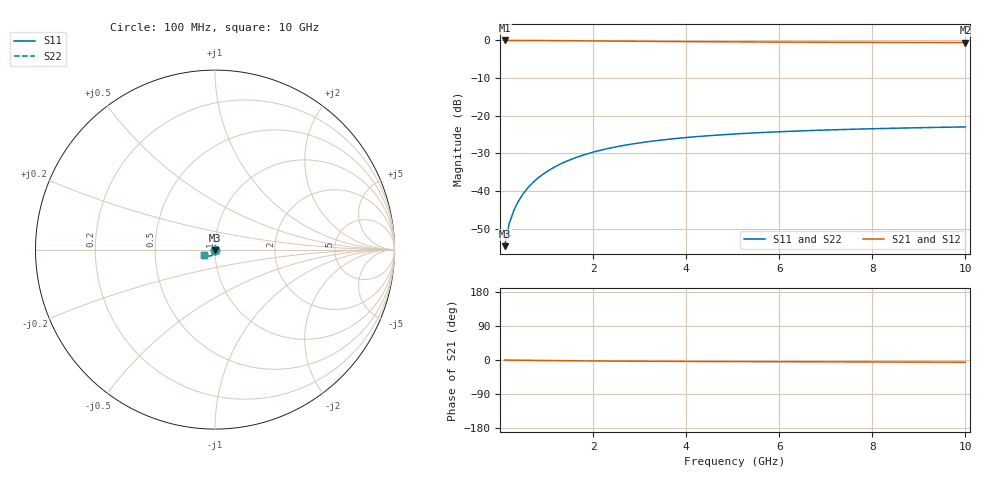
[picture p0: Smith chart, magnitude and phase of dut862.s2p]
! Touchstone file exported from HFSS 2024.1.0
!  File:  C:/UserFiles/LocalFiles/RDL_TSV_Batchsim/temp_TSV1_862_1779882021.aedt
!  Generated:  07:45:31 PM May 27, 2026
!  Design:  TSV1
!  Project:  temp_TSV1_862_1779882021
!  Setup:  Setup1
!  Solution:  Sweep
! Variables:
!  dtsv = 12.87um
!  hbump = 3um
!  htsv = 89.07um
!  lrdl = 252.1521522um
!  p = 40
!  p1 = 41.98um
!  t = 500um
!  trdl = 3um
!  wrdl = 24.89489489um
# GHz S MA R 50.000000
! Terminal data exported
! Port[1] = TSV22_T1
! Port[2] = TSV22_T2
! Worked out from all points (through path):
!   100 points, 100 MHz to 10 GHz, reference 50 ohm
!   highest |S21| = 0.00 dB at 100 MHz (marker M1); lowest = -0.6 dB at 10 GHz (marker M2)
!   lowest |S11| = -54.7 dB at 100 MHz (marker M3), VSWR 1.00, Z = 50 - j0.184 ohm
!   |S11| at or under -10 dB: start of sweep to end of sweep
!   |S22| runs from -54.7 to -23.0 dB; largest |S21 - S12| = 6.9e-15
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0.1  0.001842 -88.3  0.9998 -0.1  0.9998 -0.1  0.001842 -88.3
! Gamma 0 0 0 0
! Port Impedance 50 0 50 0
0.2  0.003683 -91.2  0.9997 -0.3  0.9997 -0.3  0.003683 -91.2
0.3  0.005523 -93.1  0.9994 -0.4  0.9994 -0.4  0.005523 -93.1
0.4  0.007358 -94.8  0.9991 -0.6  0.9991 -0.6  0.007358 -94.8
0.5  0.00918 -96.4  0.9986 -0.7  0.9986 -0.7  0.00918 -96.4
0.6  0.01098 -98.0  0.9981 -0.9  0.9981 -0.9  0.01098 -98.0
0.7  0.01276 -99.5  0.9976 -1.0  0.9976 -1.0  0.01276 -99.5
0.8  0.01452 -101.0  0.9969 -1.1  0.9969 -1.1  0.01452 -101.0
0.9  0.01624 -102.4  0.9962 -1.3  0.9962 -1.3  0.01624 -102.4
1.1  0.01959 -105.3  0.9946 -1.5  0.9946 -1.5  0.01959 -105.3
1.4  0.02433 -109.3  0.9918 -1.9  0.9918 -1.9  0.02433 -109.3
1.6  0.02728 -111.8  0.9897 -2.1  0.9897 -2.1  0.02728 -111.8
1.8  0.03007 -114.2  0.9876 -2.3  0.9876 -2.3  0.03007 -114.2
2.1  0.03395 -117.6  0.9843 -2.6  0.9843 -2.6  0.03395 -117.6
2.5  0.03855 -121.6  0.98 -2.9  0.98 -2.9  0.03855 -121.6
2.9  0.04258 -125.3  0.9757 -3.2  0.9757 -3.2  0.04258 -125.3
3.4  0.0469 -129.3  0.9707 -3.5  0.9707 -3.5  0.0469 -129.3
4.2  0.05249 -134.6  0.9637 -3.9  0.9637 -3.9  0.05249 -134.6
5.1  0.05733 -139.4  0.9572 -4.2  0.9572 -4.2  0.05733 -139.4
6.7  0.0635 -145.8  0.9483 -4.8  0.9483 -4.8  0.0635 -145.8
8.4  0.06793 -150.7  0.9416 -5.3  0.9416 -5.3  0.06793 -150.7
10  0.07089 -154.3  0.937 -5.8  0.937 -5.8  0.07089 -154.3
